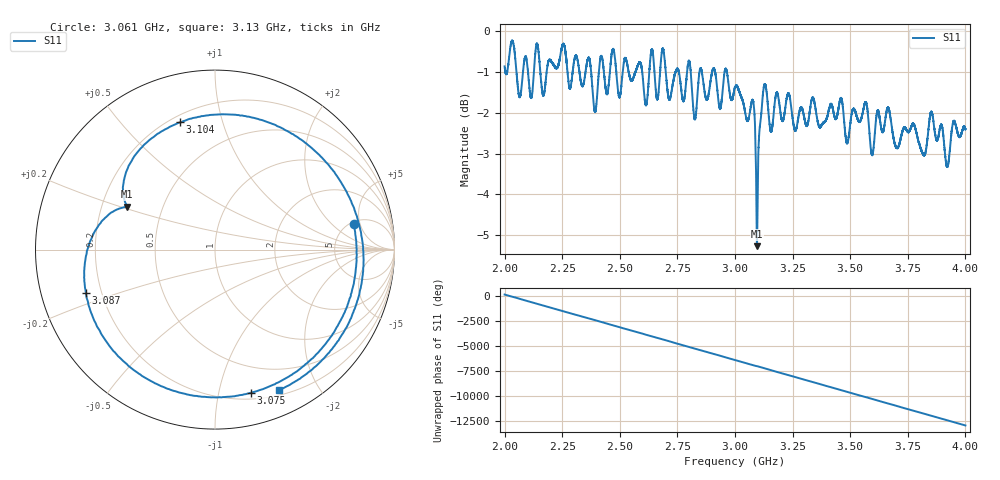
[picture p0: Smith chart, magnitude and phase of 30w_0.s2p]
!Agilent Technologies,E8362B,MY43021131,A.07.50.67
!Agilent E8362B: A.07.50.67
!Date: Thursday, March 14, 2024 15:14:41
!Correction: S11(Off)
!S21(Off)
!S12(Off)
!S22(Off)
!S2P File: Measurements: S11, S21, S12, S22:
# Hz S  RI  R 50
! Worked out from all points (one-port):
!   20001 points, 2 GHz to 4 GHz, reference 50 ohm
!   lowest |S11| = -5.3 dB at 3.095 GHz (marker M1), VSWR 3.40, Z = 15.4 + j10.5 ohm
!   |S11| at or under -10 dB: nowhere
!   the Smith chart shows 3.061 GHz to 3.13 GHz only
!   S11 on the Smith chart (normalised r, x): 3.061 GHz: 5.35, +3.92; 3.075 GHz: 0.25, -1.25; 3.087 GHz: 0.14, -0.16; 3.104 GHz: 0.24, +0.73; 3.13 GHz: 0.25, -1.52
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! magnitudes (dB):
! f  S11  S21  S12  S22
! 2 GHz  -0.9  -  -  -
! 2.333 GHz  -1.3  -  -  -
! 2.667 GHz  -1.6  -  -  -
! 2.687 GHz  -0.4  -  -  -
! 2.716 GHz  -1.7  -  -  -
! 2.801 GHz  -0.7  -  -  -
! 2.825 GHz  -2.2  -  -  -
! 2.851 GHz  -0.9  -  -  -
! 3 GHz  -1.4  -  -  -
! 3.061 GHz  -2.1  -  -  -
! 3.075 GHz  -1.7  -  -  -
! 3.087 GHz  -2.4  -  -  -
! 3.095 GHz  -5.3  -  -  -
! 3.104 GHz  -2.7  -  -  -
! 3.13 GHz  -1.3  -  -  -
! 3.156 GHz  -2.5  -  -  -
! 3.333 GHz  -1.7  -  -  -
! 3.567 GHz  -1.7  -  -  -
! 3.595 GHz  -3.0  -  -  -
! 3.667 GHz  -1.9  -  -  -
! 3.921 GHz  -3.3  -  -  -
! 4 GHz  -2.4  -  -  -
